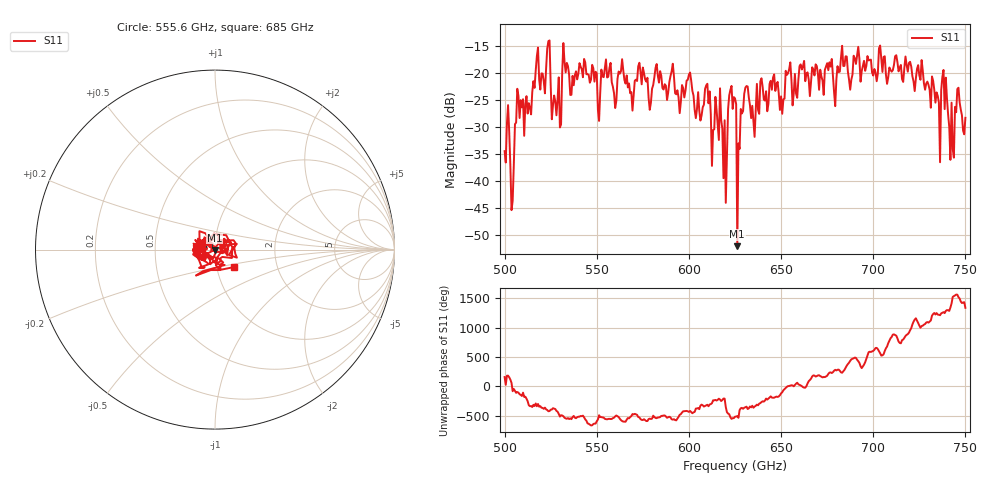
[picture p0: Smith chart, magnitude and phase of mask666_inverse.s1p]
!Created with skrf (http://scikit-rf.org).
# GHz S MA R 50.0
!freq magS11 angS11
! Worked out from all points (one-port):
!   401 points, 500 GHz to 750 GHz, reference 50 ohm
!   lowest |S11| = -52.1 dB at 626.2 GHz (marker M1), VSWR 1.00, Z = 49.8 - j0.138 ohm
!   |S11| at or under -10 dB: start of sweep to end of sweep
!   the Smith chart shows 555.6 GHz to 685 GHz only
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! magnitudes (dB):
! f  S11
! 500 GHz  -34.5
! 504.4 GHz  -43.7
! 506.9 GHz  -22.9
! 513.8 GHz  -26.5
! 516.9 GHz  -19.5
! 523.8 GHz  -14.1
! 526.9 GHz  -24.2
! 531.2 GHz  -19.9
! 533.1 GHz  -19.9
! 550.6 GHz  -26.8
! 562.5 GHz  -20.1
! 593.8 GHz  -23.2
! 610 GHz  -22.0
! 619.4 GHz  -28.8
! 623.8 GHz  -26.6
! 625 GHz  -24.7
! 626.2 GHz  -52.1
! 631.2 GHz  -22.4
! 635 GHz  -28.9
! 656.2 GHz  -26.0
! 687.5 GHz  -23.1
! 690.6 GHz  -18.3
! 718.8 GHz  -19.7
! 735 GHz  -24.2
! 738.8 GHz  -26.7
! 742.5 GHz  -25.5
! 745.6 GHz  -23.0
! 750 GHz  -28.3
